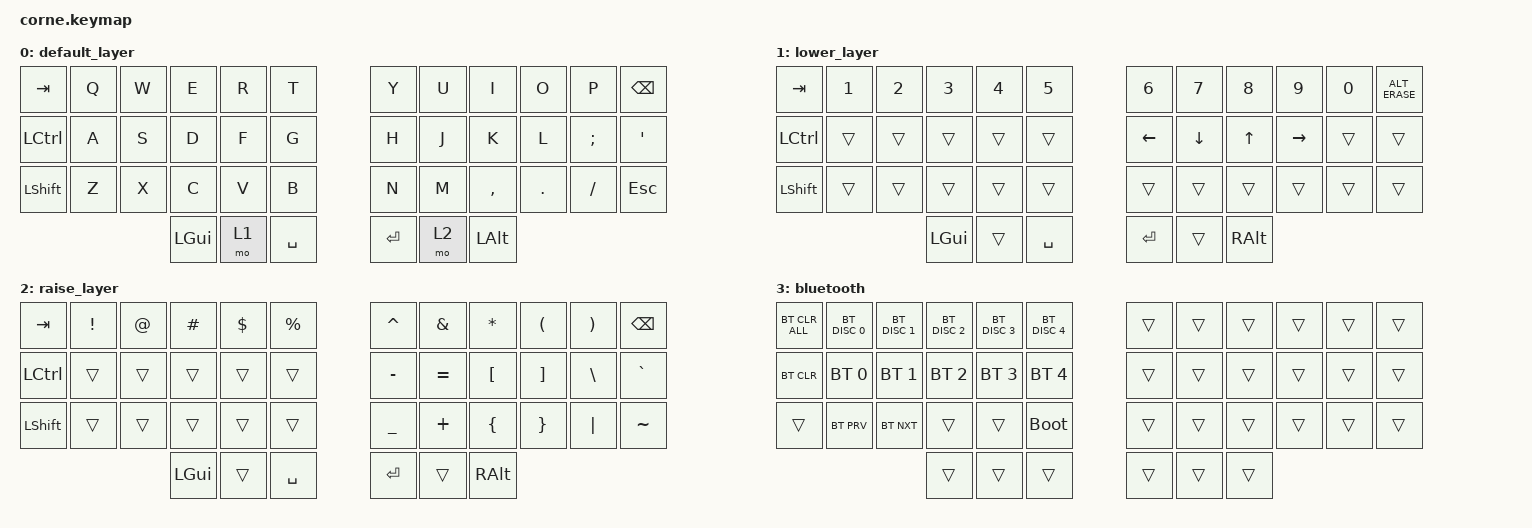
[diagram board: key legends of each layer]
/*
 * Copyright (c) 2020 The ZMK Contributors
 *
 * SPDX-License-Identifier: MIT
 */

#include <behaviors.dtsi>
#include <dt-bindings/zmk/bt.h>
#include <dt-bindings/zmk/keys.h>

/ {
    combos {
        compatible = "zmk,combos";

        bluetooth {
            bindings = <&mo 3>;
            key-positions = <36 37 38>;
        };
    };

    keymap {
        compatible = "zmk,keymap";

        default_layer {
            bindings = <
&kp TAB    &kp Q  &kp W  &kp E     &kp R  &kp T        &kp Y    &kp U  &kp I         &kp O    &kp P     &kp BSPC
&kp LCTRL  &kp A  &kp S  &kp D     &kp F  &kp G        &kp H    &kp J  &kp K         &kp L    &kp SEMI  &kp SQT
&kp LSHFT  &kp Z  &kp X  &kp C     &kp V  &kp B        &kp N    &kp M  &kp COMMA     &kp DOT  &kp FSLH  &kp ESC
                         &kp LGUI  &mo 1  &kp SPACE    &kp RET  &mo 2  &kp LEFT_ALT
            >;
        };

        lower_layer {
            bindings = <
&kp TAB           &kp N1  &kp N2  &kp N3    &kp N4  &kp N5       &kp N6    &kp N7    &kp N8    &kp N9     &kp N0  &kp ALT_ERASE
&kp LEFT_CONTROL  &trans  &trans  &trans    &trans  &trans       &kp LEFT  &kp DOWN  &kp UP    &kp RIGHT  &trans  &trans
&kp LSHFT         &trans  &trans  &trans    &trans  &trans       &trans    &trans    &trans    &trans     &trans  &trans
                                  &kp LGUI  &trans  &kp SPACE    &kp RET   &trans    &kp RALT
            >;
        };

        raise_layer {
            bindings = <
&kp TAB    &kp EXCL  &kp AT  &kp HASH  &kp DLLR  &kp PRCNT    &kp CARET  &kp AMPS   &kp ASTRK  &kp LPAR  &kp RPAR  &kp BSPC
&kp LCTRL  &trans    &trans  &trans    &trans    &trans       &kp MINUS  &kp EQUAL  &kp LBKT   &kp RBKT  &kp BSLH  &kp GRAVE
&kp LSHFT  &trans    &trans  &trans    &trans    &trans       &kp UNDER  &kp PLUS   &kp LBRC   &kp RBRC  &kp PIPE  &kp TILDE
                             &kp LGUI  &trans    &kp SPACE    &kp RET    &trans     &kp RALT
            >;
        };

        bluetooth {
            bindings = <
&bt BT_CLR_ALL  &bt BT_DISC 0  &bt BT_DISC 1  &bt BT_DISC 2  &bt BT_DISC 3  &bt BT_DISC 4    &trans  &trans  &trans  &trans  &trans  &trans
&bt BT_CLR      &bt BT_SEL 0   &bt BT_SEL 1   &bt BT_SEL 2   &bt BT_SEL 3   &bt BT_SEL 4     &trans  &trans  &trans  &trans  &trans  &trans
&trans          &bt BT_PRV     &bt BT_NXT     &trans         &trans         &bootloader      &trans  &trans  &trans  &trans  &trans  &trans
                                              &trans         &trans         &trans           &trans  &trans  &trans
            >;
        };
    };
};
